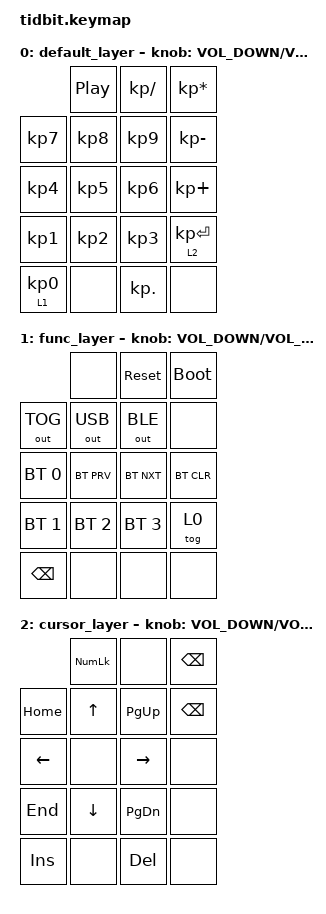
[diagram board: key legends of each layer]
/*
 * Copyright (c) 2020 The ZMK Contributors
 *
 * SPDX-License-Identifier: MIT
 */

#include <behaviors.dtsi>
#include <dt-bindings/zmk/bt.h>
#include <dt-bindings/zmk/outputs.h>
#include <dt-bindings/zmk/keys.h>

&encoder_1_top_row {
    status = "okay";
};

/ {
    sensors {
        compatible = "zmk,keymap-sensors";
        sensors = <&encoder_1_top_row>;
        triggers-per-rotation = <20>;
    };

    keymap {
        compatible = "zmk,keymap";

        default_layer {
            bindings = <
                                  &kp C_PLAY_PAUSE &kp KP_SLASH    &kp KP_ASTERISK
                &kp KP_NUMBER_7   &kp KP_NUMBER_8  &kp KP_NUMBER_9 &kp KP_MINUS
                &kp KP_NUMBER_4   &kp KP_NUMBER_5  &kp KP_NUMBER_6 &kp KP_PLUS
                &kp KP_NUMBER_1   &kp KP_NUMBER_2  &kp KP_NUMBER_3 &lt 2 KP_ENTER
                &lt 1 KP_NUMBER_0 &none            &kp KP_DOT      &none
            >;

            sensor-bindings = <&inc_dec_kp C_VOLUME_DOWN C_VOLUME_UP>;
        };

         func_layer {
             bindings = <
                                &none           &sys_reset      &bootloader
                &out OUT_TOG    &out OUT_USB    &out OUT_BLE    &none
                &bt BT_SEL 0    &bt BT_PRV      &bt BT_NXT      &bt BT_CLR
                &bt BT_SEL 1    &bt BT_SEL 2    &bt BT_SEL 3    &tog 0
                &kp BSPC        &none            &none           &none
             >;

             sensor-bindings = <&inc_dec_kp C_VOLUME_DOWN C_VOLUME_UP>;
         };

        cursor_layer {
             bindings = <
                           &kp KP_NUM &none       &kp BSPC
                &kp HOME   &kp UP     &kp PG_UP   &kp BSPC
                &kp LEFT   &none      &kp RIGHT   &none
                &kp END    &kp DOWN   &kp PG_DN   &none
                &kp INS    &none      &kp DEL     &none
             >;

             sensor-bindings = <&inc_dec_kp C_VOLUME_DOWN C_VOLUME_UP>;
        };
    };
};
